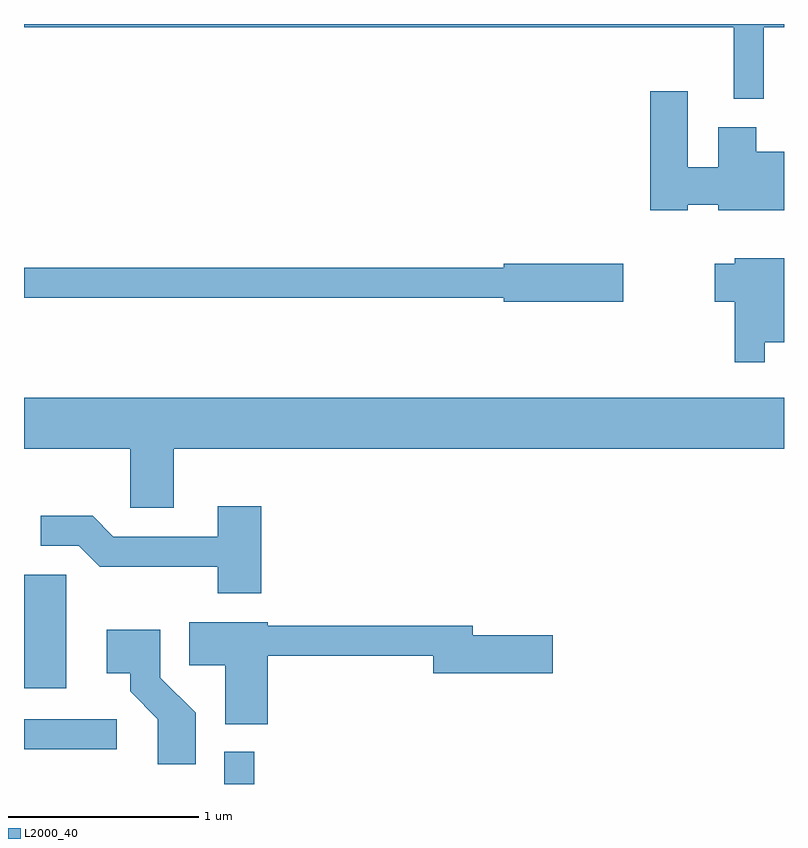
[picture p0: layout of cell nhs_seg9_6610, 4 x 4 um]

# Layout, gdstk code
import gdstk
lib = gdstk.Library(unit=1e-6, precision=1e-09)
def R(c, l, rs):  # rectangles x0, y0, x1, y1
    for r in rs: c.add(gdstk.rectangle(r[:2], r[2:], *l))
def P(c, l, *ps):  # polygons
    for p in ps: c.add(gdstk.Polygon(p, *l))
L2000_40 = (2000, 40)

nhs_seg9_6610 = lib.new_cell('nhs_seg9_6610')
R(nhs_seg9_6610, L2000_40, [(380.666,2054.432,380.824,2054.603), (379.611,2054.616,380.098,2054.774), (379.611,2054.936,379.834,2055.534)])
P(nhs_seg9_6610, L2000_40, [(383.504,2058.416),(383.611,2058.416),(383.611,2058.432),(379.611,2058.432),(379.611,2058.416),(383.346,2058.416),(383.346,2058.038),(383.504,2058.038)],
  [(383.104,2057.481),(383.266,2057.481),(383.266,2057.451),(383.611,2057.451),(383.611,2057.759),(383.464,2057.759),(383.464,2057.889),(383.266,2057.889),(383.266,2057.679),(383.104,2057.679),(383.104,2058.079),(382.906,2058.079),(382.906,2057.451),(383.104,2057.451)],
  [(383.509,2056.756),(383.611,2056.756),(383.611,2057.199),(383.351,2057.199),(383.351,2057.169),(383.246,2057.169),(383.246,2056.971),(383.351,2056.971),(383.351,2056.653),(383.509,2056.653)],
  [(382.764,2057.169),(382.136,2057.169),(382.136,2057.149),(379.611,2057.149),(379.611,2056.991),(382.136,2056.991),(382.136,2056.971),(382.764,2056.971)],
  [(380.399,2056.196),(383.611,2056.196),(383.611,2056.464),(379.611,2056.464),(379.611,2056.196),(380.171,2056.196),(380.171,2055.886),(380.399,2055.886)],
  [(380.859,2055.894),(380.631,2055.894),(380.631,2055.734),(380.082,2055.734),(379.972,2055.844),(379.698,2055.844),(379.698,2055.686),(379.899,2055.686),(380.009,2055.576),(380.631,2055.576),(380.631,2055.436),(380.859,2055.436)],
  [(380.894,2055.106),(381.766,2055.106),(381.766,2055.016),(382.394,2055.016),(382.394,2055.214),(381.974,2055.214),(381.974,2055.264),(380.894,2055.264),(380.894,2055.284),(380.481,2055.284),(380.481,2055.056),(380.671,2055.056),(380.671,2054.746),(380.894,2054.746)],
  [(380.514,2054.807),(380.329,2054.992),(380.329,2055.244),(380.046,2055.244),(380.046,2055.016),(380.171,2055.016),(380.171,2054.919),(380.316,2054.774),(380.316,2054.536),(380.514,2054.536)])

lib.write_gds('nhs_seg9_6610.gds')
